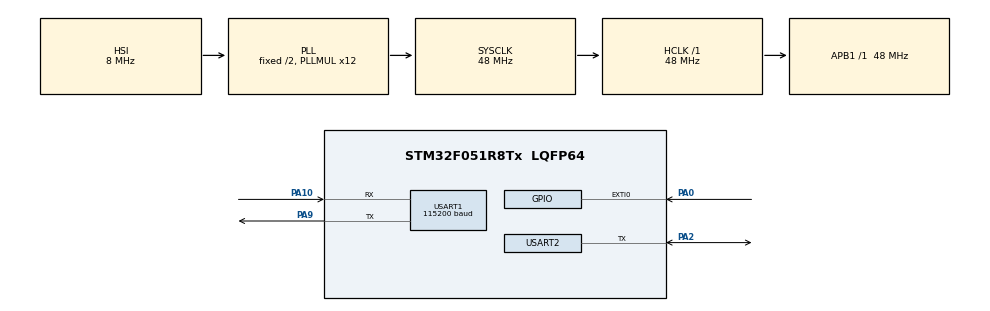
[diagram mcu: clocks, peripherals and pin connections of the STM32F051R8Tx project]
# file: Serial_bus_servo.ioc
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Mcu.Family=STM32F0
Mcu.Name=STM32F051R8Tx
Mcu.Package=LQFP64
NVIC.EXTI0_1_IRQn=true\:0\:0\:false\:false\:true\:true\:true\:true
NVIC.USART2_IRQn=true\:0\:0\:false\:false\:true\:true\:true\:true
PA0.GPIO_ModeDefaultEXTI=GPIO_MODE_IT_RISING
PA0.GPIO_PuPd=GPIO_PULLUP
PA0.Signal=GPXTI0
PA10.Mode=Asynchronous
PA10.Signal=USART1_RX
PA13.Mode=Serial_Wire
PA13.Signal=SYS_SWDIO
PA14.Mode=Serial_Wire
PA14.Signal=SYS_SWCLK
PA2.GPIO_PuPdOD=GPIO_PULLUP
PA2.Mode=Half_duplex(single_wire_mode)
PA2.Signal=USART2_TX
PA9.Mode=Asynchronous
PA9.Signal=USART1_TX
PF0-OSC_IN.Mode=HSE-External-Clock-Source
PF0-OSC_IN.Signal=RCC_OSC_IN
ProjectManager.HeapSize=0x200
ProjectManager.StackSize=0x400
ProjectManager.TargetToolchain=STM32CubeIDE
RCC.AHBFreq_Value=48000000
RCC.APB1Freq_Value=48000000
RCC.APB1TimFreq_Value=48000000
RCC.HCLKFreq_Value=48000000
RCC.PLLMUL=RCC_PLL_MUL12
RCC.SYSCLKFreq_VALUE=48000000
RCC.SYSCLKSource=RCC_SYSCLKSOURCE_PLLCLK
USART1.BaudRate=115200
USART1.VirtualMode-Asynchronous=VM_ASYNC
USART2.BaudRate=1000000
USART2.StopBits=STOPBITS_1
USART2.VirtualMode-Half_duplex(single_wire_mode)=VM_ASYNC
board=custom

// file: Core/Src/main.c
/* USER CODE BEGIN Header */
/**
 ******************************************************************************
 * @file           : main.c
 * @brief          : Main program body
 ******************************************************************************
 * @attention
 *
 * Copyright (c) 2024 STMicroelectronics.
 * All rights reserved.
 *
 * This software is licensed under terms that can be found in the LICENSE file
 * in the root directory of this software component.
 * If no LICENSE file comes with this software, it is provided AS-IS.
 *
 ******************************************************************************
 */
/* USER CODE END Header */
#include "main.h"

/* USER CODE BEGIN Includes */
#include <stdio.h>
#include "SerialServo.h"
#include <stdbool.h>

/* USER CODE END Includes */

UART_HandleTypeDef huart1;
UART_HandleTypeDef huart2;

void SystemClock_Config(void);
static void MX_GPIO_Init(void);
static void MX_USART2_UART_Init(void);
static void MX_USART1_UART_Init(void);

/* USER CODE BEGIN 0 */

// Take inputs such as uart handle, instruction packet
// returns success

/* USER CODE END 0 */

int main(void)
{

  /* MCU Configuration--------------------------------------------------------*/

  /* Reset of all peripherals, Initializes the Flash interface and the Systick. */
  HAL_Init();

  /* Configure the system clock */
  SystemClock_Config();

  /* Initialize all configured peripherals */
  MX_GPIO_Init();
  MX_USART2_UART_Init();
  MX_USART1_UART_Init();
  /* USER CODE BEGIN 2 */
	//Operation_mode(3);
	//Min_Max_Angle(0, 1000);
	//Set_torque(1000);
//    ReSetID(2,1);
	//Operation_time(0);
	//Target_location(10000);
  /* USER CODE END 2 */

  /* Infinite loop */
  /* USER CODE BEGIN WHILE */
	while (1) {
		int x;
		SyncWrite_Packet write_packet;

		//Target_location(500);
		//POSITION_CORRECTION(1000);
		//Operation_speed(500)
		//Ping(2);
		//HAL_Delay(1000);
		int ID[2]= {1,2};
		int pos[2]={1000,0};
		int time[2]={0,0};
		int speed[2]={3000,3000};
		write_packet.ID= ID;
		write_packet.pos=pos;
		write_packet.speed=speed;
		write_packet.time=time;
		Sync_write(write_packet);
		HAL_Delay(4000);
		char buffer2[30];

//		ID_loc_time_speed(1,0,0 , 3000);

		HAL_Delay(0);
//		char buffer[30];
//		sprintf(buffer, "%u", findID());
//	    AxelFlow_debug_println(buffer);
		int ID1[2]= {1,2};
		int pos1[2]={0,1000};
		int time1[2]={0,0};
		int speed1[2]={3000,3000};
		write_packet.ID= ID1;
		write_packet.pos=pos1;
		write_packet.speed=speed1;
		write_packet.time=time1;
		Sync_write(write_packet);
		HAL_Delay(4000);

		//loc_time_speed(2,0, 0, 3000);
//		HAL_Delay(4000);
//		ID_loc_time_speed(1,1000, 0, 3000);
		//HAL_Delay(2000);
		//loc_time_speed(1,5000, 0, 3000);
		//HAL_Delay(1000);
//		char buffer1[30];
//		sprintf(buffer1, "%u", CurrentLocation(1));
//	    AxelFlow_debug_println(buffer1);
//
//		HAL_Delay(000);
		//loc_time_speed(2048,0,1000);
    /* USER CODE END WHILE */

	}
}

void SystemClock_Config(void)
{
  RCC_OscInitTypeDef RCC_OscInitStruct = {0};
  RCC_ClkInitTypeDef RCC_ClkInitStruct = {0};
  RCC_PeriphCLKInitTypeDef PeriphClkInit = {0};

  /** Initializes the RCC Oscillators according to the specified parameters
  * in the RCC_OscInitTypeDef structure.
  */
  RCC_OscInitStruct.OscillatorType = RCC_OSCILLATORTYPE_HSI;
  RCC_OscInitStruct.HSIState = RCC_HSI_ON;
  RCC_OscInitStruct.HSICalibrationValue = RCC_HSICALIBRATION_DEFAULT;
  RCC_OscInitStruct.PLL.PLLState = RCC_PLL_ON;
  RCC_OscInitStruct.PLL.PLLSource = RCC_PLLSOURCE_HSI;
  RCC_OscInitStruct.PLL.PLLMUL = RCC_PLL_MUL12;
  RCC_OscInitStruct.PLL.PREDIV = RCC_PREDIV_DIV1;
  if (HAL_RCC_OscConfig(&RCC_OscInitStruct) != HAL_OK)
  {
    Error_Handler();
  }

  /** Initializes the CPU, AHB and APB buses clocks
  */
  RCC_ClkInitStruct.ClockType = RCC_CLOCKTYPE_HCLK|RCC_CLOCKTYPE_SYSCLK
                              |RCC_CLOCKTYPE_PCLK1;
  RCC_ClkInitStruct.SYSCLKSource = RCC_SYSCLKSOURCE_PLLCLK;
  RCC_ClkInitStruct.AHBCLKDivider = RCC_SYSCLK_DIV1;
  RCC_ClkInitStruct.APB1CLKDivider = RCC_HCLK_DIV1;

  if (HAL_RCC_ClockConfig(&RCC_ClkInitStruct, FLASH_LATENCY_1) != HAL_OK)
  {
    Error_Handler();
  }
  PeriphClkInit.PeriphClockSelection = RCC_PERIPHCLK_USART1;
  PeriphClkInit.Usart1ClockSelection = RCC_USART1CLKSOURCE_PCLK1;
  if (HAL_RCCEx_PeriphCLKConfig(&PeriphClkInit) != HAL_OK)
  {
    Error_Handler();
  }
}

static void MX_USART1_UART_Init(void)
{

  huart1.Instance = USART1;
  huart1.Init.BaudRate = 115200;
  huart1.Init.WordLength = UART_WORDLENGTH_8B;
  huart1.Init.StopBits = UART_STOPBITS_1;
  huart1.Init.Parity = UART_PARITY_NONE;
  huart1.Init.Mode = UART_MODE_TX_RX;
  huart1.Init.HwFlowCtl = UART_HWCONTROL_NONE;
  huart1.Init.OverSampling = UART_OVERSAMPLING_16;
  huart1.Init.OneBitSampling = UART_ONE_BIT_SAMPLE_DISABLE;
  huart1.AdvancedInit.AdvFeatureInit = UART_ADVFEATURE_NO_INIT;
  if (HAL_UART_Init(&huart1) != HAL_OK)
  {
    Error_Handler();
  }

}

static void MX_USART2_UART_Init(void)
{

  huart2.Instance = USART2;
  huart2.Init.BaudRate = 1000000;
  huart2.Init.WordLength = UART_WORDLENGTH_8B;
  huart2.Init.StopBits = UART_STOPBITS_1;
  huart2.Init.Parity = UART_PARITY_NONE;
  huart2.Init.Mode = UART_MODE_TX_RX;
  huart2.Init.HwFlowCtl = UART_HWCONTROL_NONE;
  huart2.Init.OverSampling = UART_OVERSAMPLING_16;
  huart2.Init.OneBitSampling = UART_ONE_BIT_SAMPLE_DISABLE;
  huart2.AdvancedInit.AdvFeatureInit = UART_ADVFEATURE_NO_INIT;
  if (HAL_HalfDuplex_Init(&huart2) != HAL_OK)
  {
    Error_Handler();
  }

}

static void MX_GPIO_Init(void)
{
  GPIO_InitTypeDef GPIO_InitStruct = {0};

  /* GPIO Ports Clock Enable */
  __HAL_RCC_GPIOF_CLK_ENABLE();
  __HAL_RCC_GPIOA_CLK_ENABLE();

  /*Configure GPIO pin : PA0 */
  GPIO_InitStruct.Pin = GPIO_PIN_0;
  GPIO_InitStruct.Mode = GPIO_MODE_IT_RISING;
  GPIO_InitStruct.Pull = GPIO_PULLUP;
  HAL_GPIO_Init(GPIOA, &GPIO_InitStruct);

  /* EXTI interrupt init*/
  HAL_NVIC_SetPriority(EXTI0_1_IRQn, 0, 0);
  HAL_NVIC_EnableIRQ(EXTI0_1_IRQn);

}

void Error_Handler(void)
{
	__disable_irq();
	while (1) {
	}
}
